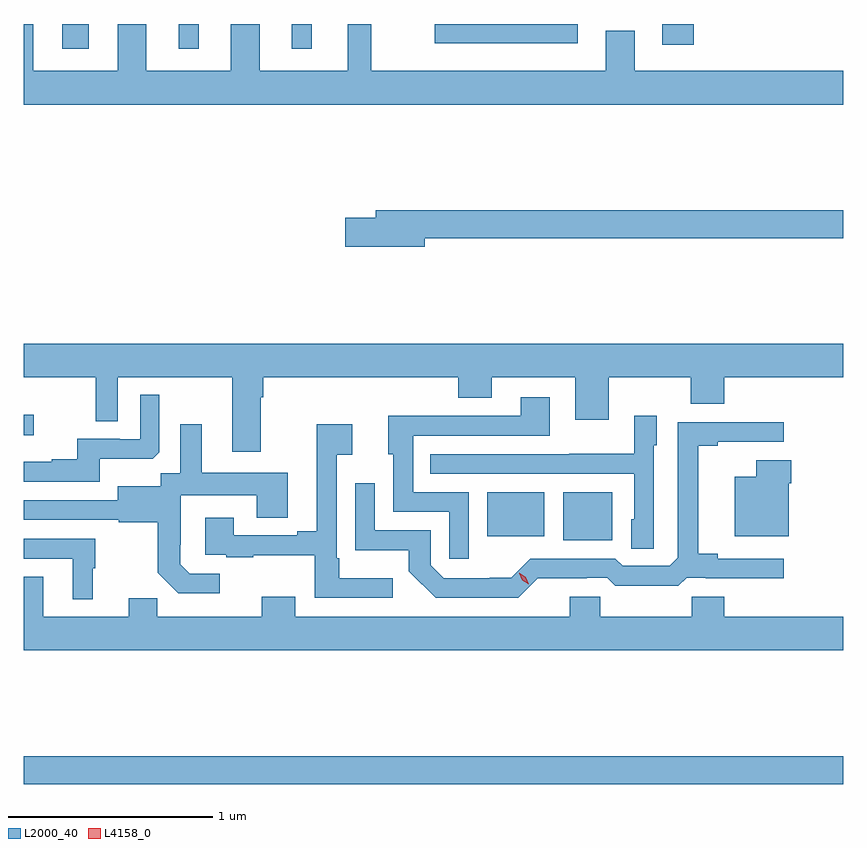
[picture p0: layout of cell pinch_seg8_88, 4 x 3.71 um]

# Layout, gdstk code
import gdstk
lib = gdstk.Library(unit=1e-6, precision=1e-09)
def R(c, l, rs):  # rectangles x0, y0, x1, y1
    for r in rs: c.add(gdstk.rectangle(r[:2], r[2:], *l))
def P(c, l, *ps):  # polygons
    for p in ps: c.add(gdstk.Polygon(p, *l))
L2000_40 = (2000, 40)
L4158_0 = (4158, 0)

pinch_seg8_88 = lib.new_cell('pinch_seg8_88')
R(pinch_seg8_88, L2000_40, [(1095.944,1099.864,1099.944,1100), (1098.578,1101.053,1098.817,1101.289), (1098.206,1101.074,1098.484,1101.289), (1095.944,1101.566,1095.994,1101.665), (1096.133,1103.451,1096.261,1103.573), (1096.7,1103.451,1096.798,1103.573), (1097.252,1103.451,1097.35,1103.573), (1099.061,1103.472,1099.214,1103.573), (1097.949,1103.48,1098.649,1103.573)])
P(pinch_seg8_88, L2000_40, [(1099.944,1103.344),(1098.925,1103.344),(1098.925,1103.539),(1098.785,1103.539),(1098.785,1103.344),(1097.639,1103.344),(1097.639,1103.573),(1097.525,1103.573),(1097.525,1103.344),(1097.095,1103.344),(1097.095,1103.573),(1096.955,1103.573),(1096.955,1103.344),(1096.543,1103.344),(1096.543,1103.573),(1096.403,1103.573),(1096.403,1103.344),(1095.991,1103.344),(1095.991,1103.573),(1095.944,1103.573),(1095.944,1103.18),(1099.944,1103.18)],
  [(1097.902,1102.528),(1099.944,1102.528),(1099.944,1102.664),(1097.663,1102.664),(1097.663,1102.628),(1097.514,1102.628),(1097.514,1102.486),(1097.902,1102.486)],
  [(1097.101,1101.752),(1097.114,1101.752),(1097.114,1101.848),(1098.065,1101.848),(1098.065,1101.749),(1098.229,1101.749),(1098.229,1101.848),(1098.635,1101.848),(1098.635,1101.642),(1098.799,1101.642),(1098.799,1101.848),(1099.199,1101.848),(1099.199,1101.72),(1099.363,1101.72),(1099.363,1101.848),(1099.944,1101.848),(1099.944,1102.012),(1095.944,1102.012),(1095.944,1101.848),(1096.296,1101.848),(1096.296,1101.634),(1096.404,1101.634),(1096.404,1101.848),(1096.961,1101.848),(1096.961,1101.486),(1097.101,1101.486)],
  [(1096.315,1101.452),(1096.573,1101.452),(1096.605,1101.483),(1096.605,1101.763),(1096.512,1101.763),(1096.512,1101.546),(1096.412,1101.546),(1096.412,1101.549),(1096.205,1101.549),(1096.205,1101.448),(1096.081,1101.448),(1096.081,1101.436),(1095.944,1101.436),(1095.944,1101.339),(1096.315,1101.339)],
  [(1098.117,1101.288),(1097.844,1101.288),(1097.844,1101.564),(1098.511,1101.564),(1098.511,1101.751),(1098.371,1101.751),(1098.371,1101.66),(1097.941,1101.66),(1097.941,1101.662),(1097.723,1101.662),(1097.723,1101.474),(1097.748,1101.474),(1097.748,1101.192),(1098.021,1101.192),(1098.021,1100.964),(1098.117,1100.964)],
  [(1099.02,1101.516),(1099.033,1101.516),(1099.033,1101.661),(1098.924,1101.661),(1098.924,1101.475),(1098.607,1101.475),(1098.607,1101.474),(1097.929,1101.474),(1097.929,1101.378),(1098.924,1101.378),(1098.924,1101.156),(1098.908,1101.156),(1098.908,1101.013),(1099.02,1101.013)],
  [(1098.452,1100.867),(1098.692,1100.867),(1098.692,1100.871),(1098.792,1100.871),(1098.832,1100.832),(1099.139,1100.832),(1099.179,1100.871),(1099.273,1100.871),(1099.273,1100.867),(1099.654,1100.867),(1099.654,1100.964),(1099.33,1100.964),(1099.33,1100.987),(1099.235,1100.987),(1099.235,1101.514),(1099.33,1101.514),(1099.33,1101.534),(1099.654,1101.534),(1099.654,1101.63),(1099.137,1101.63),(1099.137,1100.967),(1099.098,1100.928),(1098.867,1100.928),(1098.831,1100.964),(1098.417,1100.964),(1098.323,1100.87),(1098.218,1100.87),(1098.218,1100.868),(1097.994,1100.868),(1097.931,1100.931),(1097.931,1101.102),(1097.658,1101.102),(1097.658,1101.331),(1097.562,1101.331),(1097.562,1101.005),(1097.824,1101.005),(1097.824,1100.903),(1097.954,1100.772),(1098.357,1100.772)],
  [(1097.746,1100.869),(1097.485,1100.869),(1097.485,1100.965),(1097.472,1100.965),(1097.472,1101.47),(1097.548,1101.47),(1097.548,1101.619),(1097.375,1101.619),(1097.375,1101.097),(1097.279,1101.097),(1097.279,1101.078),(1096.969,1101.078),(1096.969,1101.163),(1096.829,1101.163),(1096.829,1100.982),(1096.933,1100.982),(1096.933,1100.97),(1097.065,1100.97),(1097.065,1100.981),(1097.364,1100.981),(1097.364,1100.772),(1097.746,1100.772)],
  [(1096.9,1100.889),(1096.755,1100.889),(1096.708,1100.936),(1096.708,1101.031),(1096.71,1101.031),(1096.71,1101.272),(1097.081,1101.272),(1097.081,1101.163),(1097.233,1101.163),(1097.233,1101.382),(1096.813,1101.382),(1096.813,1101.619),(1096.709,1101.619),(1096.709,1101.38),(1096.614,1101.38),(1096.614,1101.316),(1096.403,1101.316),(1096.403,1101.249),(1095.944,1101.249),(1095.944,1101.153),(1096.407,1101.153),(1096.407,1101.141),(1096.599,1101.141),(1096.599,1100.895),(1096.699,1100.795),(1096.9,1100.795)],
  [(1099.678,1101.332),(1099.691,1101.332),(1099.691,1101.445),(1099.52,1101.445),(1099.52,1101.364),(1099.415,1101.364),(1099.415,1101.074),(1099.678,1101.074)],
  [(1096.282,1100.916),(1096.294,1100.916),(1096.294,1101.06),(1095.944,1101.06),(1095.944,1100.964),(1096.184,1100.964),(1096.184,1100.765),(1096.282,1100.765)],
  [(1099.944,1100.68),(1099.364,1100.68),(1099.364,1100.778),(1099.204,1100.778),(1099.204,1100.68),(1098.759,1100.68),(1098.759,1100.778),(1098.608,1100.778),(1098.608,1100.68),(1097.269,1100.68),(1097.269,1100.779),(1097.105,1100.779),(1097.105,1100.68),(1096.595,1100.68),(1096.595,1100.771),(1096.457,1100.771),(1096.457,1100.68),(1096.039,1100.68),(1096.039,1100.875),(1095.944,1100.875),(1095.944,1100.516),(1099.944,1100.516)])
P(pinch_seg8_88, L4158_0, [(1098.409,1100.838),(1098.378,1100.859),(1098.363,1100.893),(1098.363,1100.894),(1098.363,1100.894),(1098.394,1100.872),(1098.409,1100.838),(1098.409,1100.838)])

lib.write_gds('pinch_seg8_88.gds')
